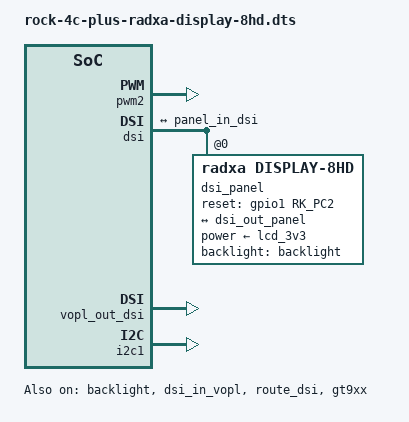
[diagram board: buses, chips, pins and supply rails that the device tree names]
/dts-v1/;
/plugin/;

#include <dt-bindings/gpio/gpio.h>
#include <dt-bindings/pinctrl/rockchip.h>
#include <dt-bindings/interrupt-controller/irq.h>

/ {
	metadata {
		title ="Enable Radxa Display 8HD";
		compatible = "radxa,rock-4c-plus";
		category = "display";
		description = "Enable Radxa Display 8HD";
	};

	fragment@0 {
		target = <&backlight>;

		__overlay__ {
			status = "okay";
		};
	};

	fragment@1 {
		target = <&pwm2>;

		__overlay__ {
			status = "okay";
		};
	};

	fragment@2 {
		target = <&dsi>;

		__overlay__ {
			status = "okay";

			#address-cells = <1>;
			#size-cells = <0>;

			rockchip,lane-rate = <480>;

			dsi_panel: panel@0 {
				status = "okay";
				compatible ="radxa,display-8hd";
				reg = <0>;

				backlight = <&backlight>;
				power-supply = <&lcd_3v3>;

				reset-gpios = <&gpio1 RK_PC2 GPIO_ACTIVE_HIGH>;

				pinctrl-names = "default";
				pinctrl-0 = <&lcd_panel_reset>;

				ports {
					#address-cells = <1>;
					#size-cells = <0>;
					port@0 {
						reg = <0>;
						panel_in_dsi: endpoint {
						remote-endpoint = <&dsi_out_panel>;
						};
					};
				};
			};

			ports {
				#address-cells = <1>;
				#size-cells = <0>;

				port@1 {
					reg = <1>;
					dsi_out_panel: endpoint {
						remote-endpoint = <&panel_in_dsi>;
					};
				};
			};
		};
	};

	fragment@3 {
		target = <&vopl_out_dsi>;

		__overlay__ {
			status = "okay";
		};
	};

	fragment@4 {
		target = <&dsi_in_vopl>;

		__overlay__ {
			status = "okay";
		};
	};

	fragment@5 {
		target = <&dsi_in_vopb>;

		__overlay__ {
			status = "disabled";
		};
	};

	fragment@6 {
		target = <&route_dsi>;

		__overlay__ {
			status = "okay";
			connect = <&vopl_out_dsi>;
		};
	};

	fragment@7 {
		target = <&i2c1>;

		__overlay__ {
			status = "okay";
		};
	};

	fragment@8 {
		target = <&gt9xx>;

		__overlay__ {
			status = "okay";
		};
	};
};
